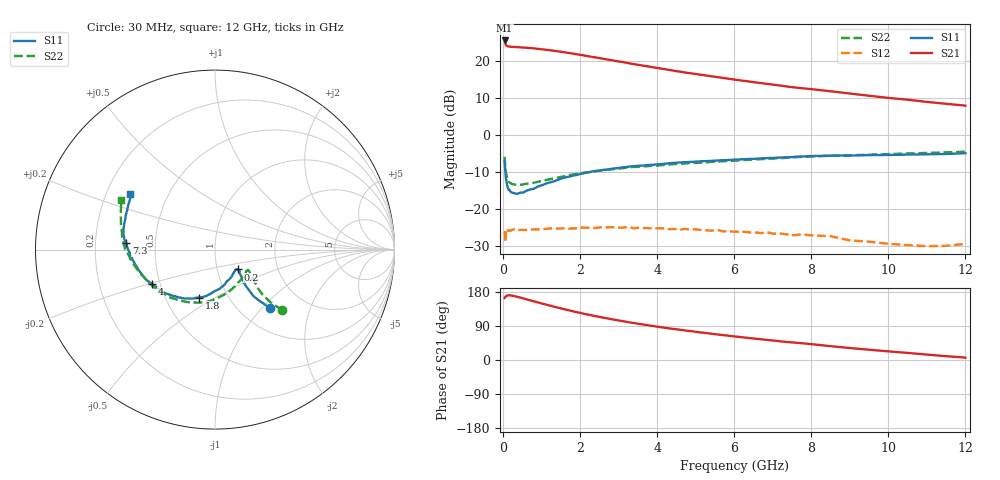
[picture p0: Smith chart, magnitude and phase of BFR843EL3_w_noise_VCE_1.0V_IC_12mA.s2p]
! Infineon Technologies  Discrete & RF Semiconductors
! BFR843EL3
! VCE =  1.0 V,  IC =  12 mA
! Common Emitter S-Parameters:  Aug 2013
# GHz  S  MA  R  50
!  f  S11  S21  S12  S22
! GHz  MAG  ANG  MAG  ANG  MAG  ANG  MAG  ANG
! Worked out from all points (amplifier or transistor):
!   103 points, 30 MHz to 12 GHz, reference 50 ohm
!   highest |S21| = 25.5 dB at 30 MHz (marker M1)
!   |S21| within 3 dB of that: start of sweep to 1.464 GHz
!   unconditionally stable (mu >= 1): 5.227 GHz to end of sweep
!   at 400 MHz: K = 0.99, MSG = 24.7 dB, |S12| = -25.7 dB
!   at 3.7 GHz: K = 0.87, MSG = 21.9 dB, |S12| = -25.1 dB
!   at 12 GHz: K = 2.67, MAG = 11.5 dB, |S12| = -29.4 dB
!   lowest NFmin = 0.93 dB at 450 MHz
!   S11 on the Smith chart (normalised r, x): 30 MHz: 1.36, -1.11; 200 MHz: 1.25, -0.28; 1.8 GHz: 0.73, -0.43; 4 GHz: 0.45, -0.21; 7.3 GHz: 0.34, +0.03; 12 GHz: 0.30, +0.27
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0.03  0.4461 -46.8  18.8 163.5  0.0458 31.2  0.5056 -42.1
0.04  0.3678 -49.4  17.65 164.9  0.049 21.7  0.4217 -43.5
0.06  0.2671 -49.8  16.46 167.6  0.0514 21.6  0.3266 -42.2
0.08  0.2324 -47.6  16.01 169.3  0.0508 12.5  0.28 -39.2
0.15  0.1818 -41.1  15.54 170.8  0.0506 7.2  0.2291 -33.0
0.2  0.1678 -41.2  15.46 170.3  0.0516 5.3  0.2204 -31.7
0.6  0.1765 -58.1  15 160.2  0.0521 2.7  0.2196 -46.8
1.1  0.2201 -83.3  14.08 146.4  0.0538 2.8  0.2459 -71.3
1.4  0.2461 -95.3  13.46 138.5  0.0544 3.1  0.2637 -83.7
1.8  0.2812 -108.3  12.51 128.7  0.0548 1.0  0.2922 -97.6
2.1  0.3053 -116.5  11.77 121.8  0.056 1.1  0.3096 -107.3
2.6  0.3385 -128.5  10.63 111.6  0.0569 0.1  0.3341 -119.5
3  0.359 -136.1  9.773 104.2  0.0559 -1.5  0.351 -127.8
3.4  0.3795 -143.1  8.996 97.3  0.0548 -2.4  0.3694 -135.1
4  0.3994 -151.4  7.999 87.9  0.055 -3.8  0.3845 -144.2
4.1  0.4039 -152.5  7.837 86.5  0.055 -4.9  0.3901 -145.1
5.1  0.4387 -164.5  6.506 73.0  0.0523 -6.5  0.4212 -157.8
6.1  0.4661 -174.2  5.492 61.2  0.0493 -7.2  0.4527 -167.5
7.3  0.4968 175.8  4.542 48.2  0.046 -7.6  0.4886 -177.7
8.5  0.5247 165.6  3.877 36.5  0.0428 -9.1  0.5222 172.2
10.5  0.5424 153.3  2.984 18.7  0.0326 4.1  0.5612 159.5
12  0.566 146.8  2.483 6.3  0.0339 23.7  0.5928 152.1
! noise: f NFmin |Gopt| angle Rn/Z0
0.45  0.93  0.05  82  0.12
0.9  0.94  0.06  89  0.12
1.5  0.96  0.07  95  0.11
1.9  0.97  0.08  98  0.11
2.4  0.99  0.08  107  0.11
3.5  1.01  0.11  121  0.11
5.5  1.06  0.17  151  0.1
8  1.12  0.28  183  0.07
10  1.16  0.4  213  0.06
